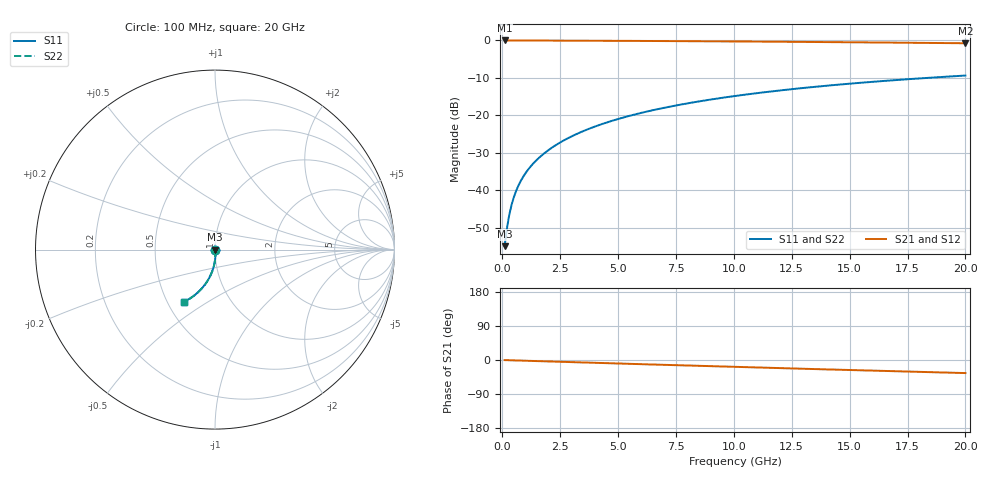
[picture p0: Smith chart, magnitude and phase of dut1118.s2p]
! Touchstone file exported from HFSS 2026.1.0
!  File:  C:/ffzhzh/LocalFiles/Ansys_Project_Files/temp_train_BSMRDL_1118_1783175092_55132.aedt
!  Generated:  10:26:01 PM Jul  4, 2026
!  Design:  BSMRDL
!  Project:  temp_train_BSMRDL_1118_1783175092_55132
! Variables:
!  h_bsmrdl = 5.86um
!  h_ox = 20um
!  h_rdl = 5um
!  h_sub = 80um
!  h_tmrdl = 5um
!  h_tsv = 80um
!  h_via = 3um
!  l_bsmrdl = 484.28um
!  l_sub = 884.28um
!  l_tmrdl = 200um
!  m_sub = 200um
!  pitch = 28.63um
!  r_tsv = 6um
!  s_tmrdl = 10um
!  w_bsmrdl = 27.35um
!  w_sub = 500um
!  w_tmrdl = 12um
!  x_tsv_center1 = 206um
!  x_tsv_center2 = 717.63um
!  x_tsv_center3 = 929.63um
!  x_tsv_center4 = 1441.26um
!  x_tsv_center5 = 1653.26um
!  x_tsv_center6 = 2164.89um
# GHz S MA R 50.000000
! Terminal data exported
! Port[1] = BSM_RDL1_1_T1
! Port[2] = BSM_RDL1_1_T2
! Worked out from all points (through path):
!   200 points, 100 MHz to 20 GHz, reference 50 ohm
!   highest |S21| = -0.01 dB at 100 MHz (marker M1); lowest = -0.8 dB at 20 GHz (marker M2)
!   group delay of S21, straight-line fit = 4.78 ps
!   lowest |S11| = -54.9 dB at 100 MHz (marker M3), VSWR 1.00, Z = 50.1 - j0.112 ohm
!   |S11| at or under -10 dB: start of sweep to 18.35 GHz
!   |S22| runs from -54.9 to -9.4 dB; largest |S21 - S12| = 1.4e-14
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0.1  0.001805 -38.0  0.9986 -0.2  0.9986 -0.2  0.001805 -38.0
! Gamma 0 0 0 0
! Port Impedance 50 0 50 0
0.2  0.003106 -53.8  0.9981 -0.4  0.9981 -0.4  0.003106 -53.8
0.3  0.004701 -61.9  0.9977 -0.6  0.9977 -0.6  0.004701 -61.9
0.4  0.006407 -67.2  0.9974 -0.8  0.9974 -0.8  0.006407 -67.2
0.5  0.00815 -70.9  0.9972 -1.0  0.9972 -1.0  0.00815 -70.9
0.6  0.009904 -73.7  0.997 -1.2  0.997 -1.2  0.009904 -73.7
0.7  0.01166 -75.9  0.9968 -1.4  0.9968 -1.4  0.01166 -75.9
0.8  0.01341 -77.6  0.9967 -1.6  0.9967 -1.6  0.01342 -77.6
1  0.01692 -80.1  0.9964 -1.9  0.9964 -1.9  0.01692 -80.1
1.4  0.02396 -83.3  0.9958 -2.7  0.9958 -2.7  0.02396 -83.3
1.7  0.02926 -84.8  0.9953 -3.2  0.9953 -3.2  0.02926 -84.8
2  0.0346 -86.0  0.9947 -3.8  0.9947 -3.8  0.0346 -86.0
2.7  0.0472 -88.2  0.9932 -5.1  0.9932 -5.1  0.0472 -88.2
3.5  0.06182 -90.2  0.9912 -6.6  0.9912 -6.6  0.06182 -90.2
4.2  0.07474 -91.8  0.9894 -7.8  0.9894 -7.8  0.07474 -91.8
5  0.08957 -93.6  0.9871 -9.3  0.9871 -9.3  0.08958 -93.6
6.8  0.1229 -97.4  0.9814 -12.4  0.9814 -12.4  0.1229 -97.3
8.3  0.1502 -100.4  0.976 -15.1  0.976 -15.1  0.1503 -100.3
10.1  0.1824 -103.8  0.9688 -18.2  0.9688 -18.2  0.1824 -103.8
13.4  0.2389 -109.9  0.9535 -23.8  0.9535 -23.8  0.239 -109.8
16.7  0.2916 -115.6  0.9358 -29.2  0.9358 -29.2  0.2917 -115.5
20  0.3399 -121.0  0.9164 -34.5  0.9164 -34.5  0.34 -120.9
